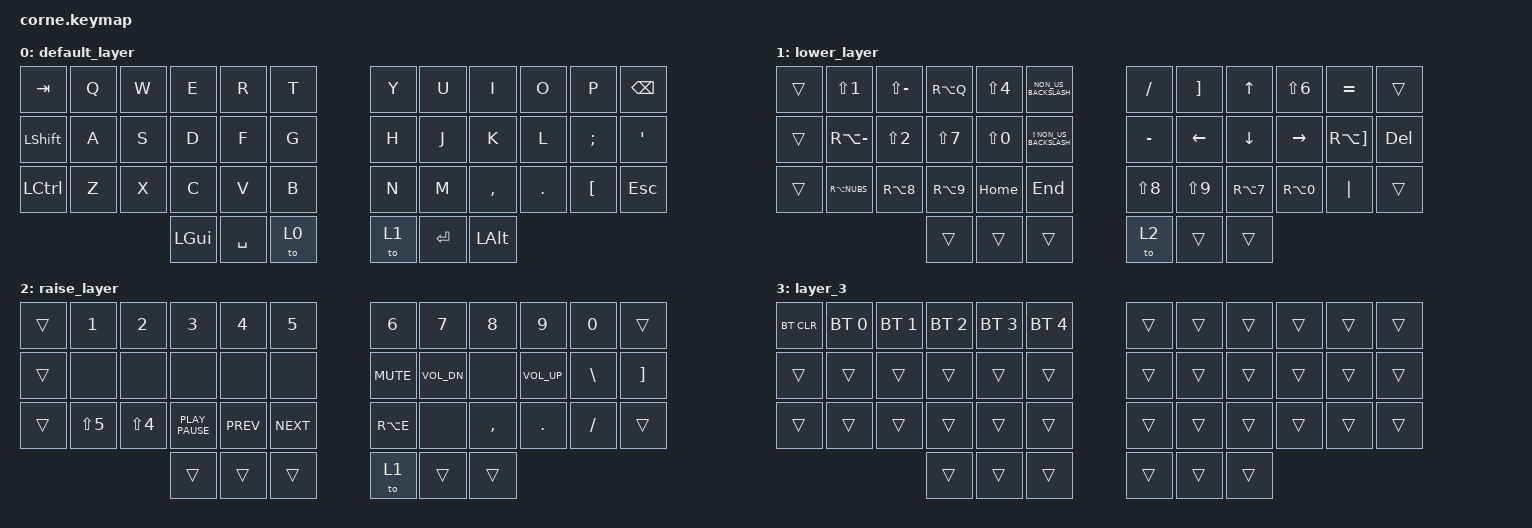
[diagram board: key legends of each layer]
/*
 * Copyright (c) 2020 The ZMK Contributors
 *
 * SPDX-License-Identifier: MIT
 */

#include <behaviors.dtsi>
#include <dt-bindings/zmk/bt.h>
#include <dt-bindings/zmk/keys.h>

/ {
    combos {
        compatible = "zmk,combos";

        goToLayer3 {
            bindings = <&to 3>;
            key-positions = <38 39>;
        };

        caps_lock {
            bindings = <&caps_lock>;
            key-positions = <12 35>;
        };
    };

    behaviors {
        caps_lock: caps_lock {
            compatible = "zmk,behavior-tap-dance";
            label = "CAPS_LOCK";
            #binding-cells = <0>;
            bindings = <&kp LEFT_SHIFT>, <&kp LEFT_SHIFT>;
        };
    };

    keymap {
        compatible = "zmk,keymap";

        default_layer {
            // -----------------------------------------------------------------------------------------
            // |  TAB |  Q  |  W  |  E  |  R  |  T  |   |  Y  |  U   |  I  |  O  |  P  | BKSP |
            // | CTRL |  A  |  S  |  D  |  F  |  G  |   |  H  |  J   |  K  |  L  |  ;  |  '   |
            // | SHFT |  Z  |  X  |  C  |  V  |  B  |   |  N  |  M   |  ,  |  .  |  /  | ESC  |
            //                    | GUI | LWR | SPC |   | ENT | RSE  | ALT |

            bindings = <
&kp TAB           &kp Q  &kp W  &kp E     &kp R      &kp T    &kp Y  &kp U       &kp I         &kp O    &kp P             &kp BSPC
&kp LEFT_SHIFT    &kp A  &kp S  &kp D     &kp F      &kp G    &kp H  &kp J       &kp K         &kp L    &kp SEMI          &kp SQT
&kp LEFT_CONTROL  &kp Z  &kp X  &kp C     &kp V      &kp B    &kp N  &kp M       &kp COMMA     &kp DOT  &kp LEFT_BRACKET  &kp ESC
                                &kp LGUI  &kp SPACE  &to 0    &to 1  &kp RETURN  &kp LEFT_ALT
            >;
        };

        lower_layer {
            // -----------------------------------------------------------------------------------------
            // |  TAB |  1  |  2  |  3  |  4  |  5  |   |  6  |  7  |  8  |  9  |  0  | BKSP |
            // | BTCLR| BT1 | BT2 | BT3 | BT4 | BT5 |   | LFT | DWN |  UP | RGT |     |      |
            // | SHFT |     |     |     |     |     |   |     |     |     |     |     |      |
            //                    | GUI |     | SPC |   | ENT |     | ALT |

            bindings = <
&trans  &kp LS(NUMBER_1)  &kp LS(MINUS)  &kp RA(Q)   &kp LS(NUMBER_4)  &kp NON_US_BACKSLASH        &kp SLASH   &kp RIGHT_BRACKET  &kp UP_ARROW    &kp LS(NUMBER_6)  &kp EQUAL              &trans
&trans  &kp RA(MINUS)     &kp LS(N2)     &kp LS(N7)  &kp LS(N0)        &kp LS(NON_US_BACKSLASH)    &kp MINUS   &kp LEFT_ARROW     &kp DOWN_ARROW  &kp RIGHT         &kp RA(RIGHT_BRACKET)  &kp DELETE
&trans  &kp RA(NUBS)      &kp RA(N8)     &kp RA(N9)  &kp HOME          &kp END                     &kp LS(N8)  &kp LS(N9)         &kp RA(N7)      &kp RA(N0)        &kp PIPE               &trans
                                         &trans      &trans            &trans                      &to 2       &trans             &trans
            >;
        };

        raise_layer {
            // -----------------------------------------------------------------------------------------
            // |  TAB |  !  |  @  |  #  |  $  |  %  |   |  ^  |  &  |  *  |  (  |  )  | BKSP |
            // | CTRL |     |     |     |     |     |   |  -  |  =  |  [  |  ]  |  \  |  `   |
            // | SHFT |     |     |     |     |     |   |  _  |  +  |  {  |  }  | "|" |  ~   |
            //                    | GUI |     | SPC |   | ENT |     | ALT |

            bindings = <
&trans  &kp N1      &kp N2      &kp N3            &kp N4      &kp N5        &kp N6      &kp N7        &kp N8     &kp N9           &kp N0     &trans
&trans  &none       &none       &none             &none       &none         &kp K_MUTE  &kp C_VOL_DN  &none      &kp C_VOLUME_UP  &kp BSLH   &kp RIGHT_BRACKET
&trans  &kp LS(N5)  &kp LS(N4)  &kp K_PLAY_PAUSE  &kp K_PREV  &kp K_NEXT    &kp RA(E)   &none         &kp COMMA  &kp PERIOD       &kp SLASH  &trans
                                &trans            &trans      &trans        &to 1       &trans        &trans
            >;
        };

        layer_3 {
            bindings = <
&bt BT_CLR  &bt BT_SEL 0  &bt BT_SEL 1  &bt BT_SEL 2  &bt BT_SEL 3  &bt BT_SEL 4    &trans  &trans  &trans  &trans  &trans  &trans
&trans      &trans        &trans        &trans        &trans        &trans          &trans  &trans  &trans  &trans  &trans  &trans
&trans      &trans        &trans        &trans        &trans        &trans          &trans  &trans  &trans  &trans  &trans  &trans
                                        &trans        &trans        &trans          &trans  &trans  &trans
            >;
        };
    };
};
